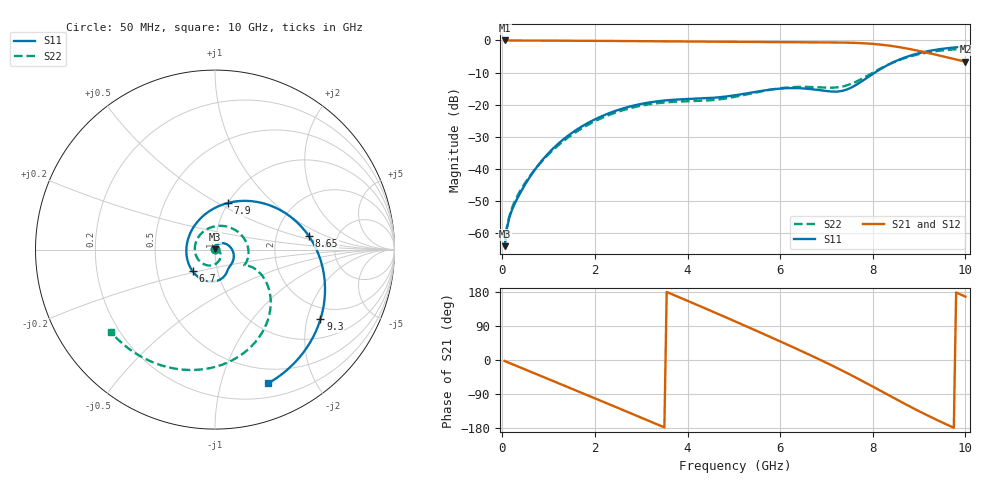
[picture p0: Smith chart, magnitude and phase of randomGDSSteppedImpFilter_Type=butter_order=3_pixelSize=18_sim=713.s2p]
! freq	dB(S11)	phase(S11)	dB(S12)	phase(S12)
!  dB(S21)	phase(S21)	dB(S22)	phase(S22)
!S-par simulation data
#  GHz  S  DB  R 50
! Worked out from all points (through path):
!   200 points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, 50 MHz to 10 GHz, reference 50 ohm
!   highest |S21| = -0.01 dB at 50 MHz (marker M1); lowest = -6.6 dB at 10 GHz (marker M2)
!   group delay of S21, straight-line fit = 153 ps
!   lowest |S11| = -64.1 dB at 50 MHz (marker M3), VSWR 1.00, Z = 50 + j0.0615 ohm
!   |S11| at or under -10 dB: start of sweep to 8.046 GHz
!   |S22| runs from -64.0 to -2.6 dB; largest |S21 - S12| = 0
!   S11 on the Smith chart (normalised r, x): 50 MHz: 1.00, +0.00; 6.7 GHz: 0.76, -0.19; 7.9 GHz: 1.00, +0.56; 8.65 GHz: 3.10, +0.64; 9.3 GHz: 1.57, -2.42; 10 GHz: 0.34, -1.42
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0.05  -64.07 79.3  -0.01 -2.6  -0.01 -2.6  -63.96 73.7
0.1  -58.41 80.7  -0.01 -5.1  -0.01 -5.1  -58.17 69.2
0.2  -53.11 82.0  -0.02 -10.2  -0.02 -10.2  -52.54 57.5
0.5  -44.69 90.9  -0.03 -25.3  -0.03 -25.3  -44.20 30.7
1.15  -32.92 76.6  -0.07 -58.1  -0.07 -58.1  -33.41 -11.2
1.75  -26.51 49.0  -0.11 -88.4  -0.11 -88.4  -27.09 -43.9
2.5  -21.66 13.3  -0.18 -126.6  -0.18 -126.6  -22.19 -84.7
2.95  -19.91 -6.6  -0.22 -149.6  -0.22 -149.6  -20.46 -111.0
3.4  -18.86 -24.3  -0.27 -172.7  -0.27 -172.7  -19.46 -139.6
4.15  -18.16 -46.3  -0.34 148.4  -0.34 148.4  -18.88 163.8
4.6  -17.80 -54.5  -0.37 124.7  -0.37 124.7  -18.48 123.6
5.05  -17.02 -61.8  -0.42 100.7  -0.42 100.7  -17.50 82.3
5.8  -15.30 -82.9  -0.51 60.1  -0.51 60.1  -15.31 23.5
6.3  -14.83 -107.4  -0.56 32.6  -0.56 32.6  -14.51 -5.7
6.7  -15.21 -135.7  -0.59 10.0  -0.59 10.0  -14.52 -21.7
7.3  -15.81 155.4  -0.65 -25.5  -0.65 -25.5  -14.47 -27.7
7.9  -11.39 74.6  -0.96 -63.6  -0.96 -63.6  -10.86 -27.8
8.35  -7.46 31.5  -1.61 -93.4  -1.61 -93.4  -7.43 -43.1
8.65  -5.53 8.1  -2.28 -113.1  -2.28 -113.1  -5.69 -58.1
9.3  -3.05 -33.5  -4.23 -153.2  -4.23 -153.2  -3.47 -95.9
9.65  -2.35 -52.0  -5.41 -173.3  -5.41 -173.3  -2.91 -117.9
10  -1.92 -68.4  -6.61 167.2  -6.61 167.2  -2.62 -141.5
